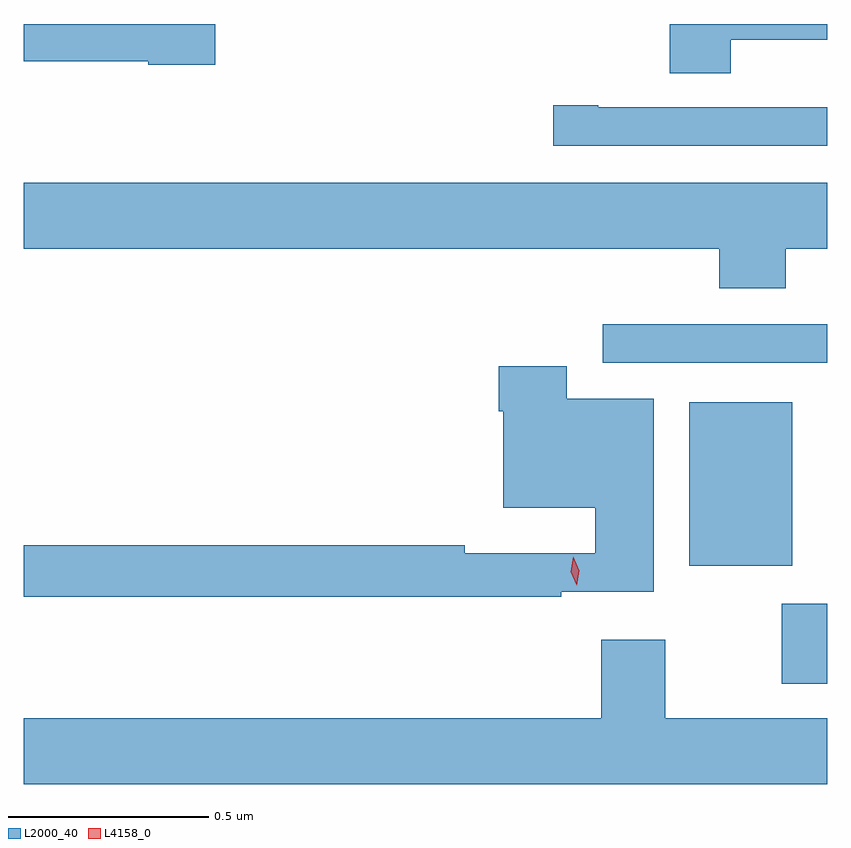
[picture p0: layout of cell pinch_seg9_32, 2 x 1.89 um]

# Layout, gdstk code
import gdstk
lib = gdstk.Library(unit=1e-6, precision=1e-09)
def R(c, l, rs):  # rectangles x0, y0, x1, y1
    for r in rs: c.add(gdstk.rectangle(r[:2], r[2:], *l))
def P(c, l, *ps):  # polygons
    for p in ps: c.add(gdstk.Polygon(p, *l))
L2000_40 = (2000, 40)
L4158_0 = (4158, 0)

pinch_seg9_32 = lib.new_cell('pinch_seg9_32')
R(pinch_seg9_32, L2000_40, [(926.83,1215.318,926.944,1215.516), (926.6,1215.611,926.857,1216.018), (926.385,1216.116,926.944,1216.212)])
P(pinch_seg9_32, L2000_40, [(925.421,1216.959),(924.944,1216.959),(924.944,1216.866),(925.254,1216.866),(925.254,1216.858),(925.421,1216.858)],
  [(926.704,1216.92),(926.944,1216.92),(926.944,1216.959),(926.552,1216.959),(926.552,1216.837),(926.704,1216.837)],
  [(926.944,1216.752),(926.374,1216.752),(926.374,1216.757),(926.262,1216.757),(926.262,1216.656),(926.944,1216.656)],
  [(926.84,1216.4),(926.944,1216.4),(926.944,1216.564),(924.944,1216.564),(924.944,1216.4),(926.675,1216.4),(926.675,1216.301),(926.84,1216.301)],
  [(926.282,1215.546),(926.512,1215.546),(926.512,1216.027),(926.296,1216.027),(926.296,1216.108),(926.126,1216.108),(926.126,1215.995),(926.138,1215.995),(926.138,1215.755),(926.366,1215.755),(926.366,1215.642),(926.042,1215.642),(926.042,1215.662),(924.944,1215.662),(924.944,1215.534),(926.282,1215.534)],
  [(926.944,1215.232),(926.541,1215.232),(926.541,1215.427),(926.381,1215.427),(926.381,1215.232),(924.944,1215.232),(924.944,1215.068),(926.944,1215.068)])
P(pinch_seg9_32, L4158_0, [(926.32,1215.562),(926.32,1215.562),(926.306,1215.596),(926.312,1215.633),(926.312,1215.634),(926.312,1215.633),(926.326,1215.599),(926.32,1215.562)])

lib.write_gds('pinch_seg9_32.gds')
